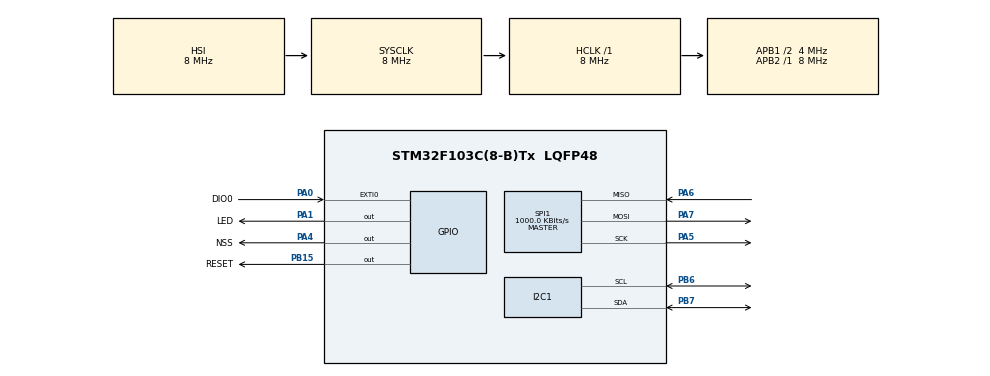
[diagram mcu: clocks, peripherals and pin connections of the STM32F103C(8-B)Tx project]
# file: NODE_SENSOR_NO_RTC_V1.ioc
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Mcu.Family=STM32F1
Mcu.Name=STM32F103C(8-B)Tx
Mcu.Package=LQFP48
NVIC.EXTI0_IRQn=true\:0\:0\:false\:false\:true\:true\:true\:true
NVIC.PriorityGroup=NVIC_PRIORITYGROUP_4
NVIC.RTC_Alarm_IRQn=true\:0\:0\:false\:false\:true\:true\:true\:true
PA0-WKUP.GPIO_Label=DIO0
PA0-WKUP.Signal=GPXTI0
PA1.GPIO_Label=LED
PA1.Signal=GPIO_Output
PA13.Mode=Serial_Wire
PA13.Signal=SYS_JTMS-SWDIO
PA14.Mode=Serial_Wire
PA14.Signal=SYS_JTCK-SWCLK
PA4.GPIO_Label=NSS
PA4.PinState=GPIO_PIN_SET
PA4.Signal=GPIO_Output
PA5.Mode=Full_Duplex_Master
PA5.Signal=SPI1_SCK
PA6.Mode=Full_Duplex_Master
PA6.Signal=SPI1_MISO
PA7.Mode=Full_Duplex_Master
PA7.Signal=SPI1_MOSI
PB15.GPIO_Label=RESET
PB15.PinState=GPIO_PIN_SET
PB15.Signal=GPIO_Output
PB6.Mode=I2C
PB6.Signal=I2C1_SCL
PB7.Mode=I2C
PB7.Signal=I2C1_SDA
PC14-OSC32_IN.Mode=LSE-External-Oscillator
PC14-OSC32_IN.Signal=RCC_OSC32_IN
PC15-OSC32_OUT.Mode=LSE-External-Oscillator
PC15-OSC32_OUT.Signal=RCC_OSC32_OUT
PD0-OSC_IN.Mode=HSE-External-Oscillator
PD0-OSC_IN.Signal=RCC_OSC_IN
PD1-OSC_OUT.Mode=HSE-External-Oscillator
PD1-OSC_OUT.Signal=RCC_OSC_OUT
ProjectManager.HeapSize=0x200
ProjectManager.StackSize=0x400
ProjectManager.TargetToolchain=MDK-ARM V5.32
RCC.AHBFreq_Value=8000000
RCC.APB1CLKDivider=RCC_HCLK_DIV2
RCC.APB1Freq_Value=4000000
RCC.APB1TimFreq_Value=8000000
RCC.APB2Freq_Value=8000000
RCC.APB2TimFreq_Value=8000000
RCC.HCLKFreq_Value=8000000
RCC.PLLMUL=RCC_PLL_MUL9
RCC.PLLSourceVirtual=RCC_PLLSOURCE_HSE
RCC.SYSCLKFreq_VALUE=8000000
RCC.USBFreq_Value=72000000
RTC.Format=RTC_FORMAT_BIN
SPI1.BaudRatePrescaler=SPI_BAUDRATEPRESCALER_8
SPI1.CalculateBaudRate=1000.0 KBits/s
SPI1.Direction=SPI_DIRECTION_2LINES
SPI1.Mode=SPI_MODE_MASTER
SPI1.VirtualType=VM_MASTER
VP_RTC_VS_RTC_Activate.Mode=RTC_Enabled
VP_RTC_VS_RTC_Calendar.Mode=RTC_Calendar
board=custom

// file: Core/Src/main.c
/* USER CODE BEGIN Header */
/**
  ******************************************************************************
  * @file           : main.c
  * @brief          : Main program body
  ******************************************************************************
  * @attention
  *
  * Copyright (c) 2026 STMicroelectronics.
  * All rights reserved.
  *
  * This software is licensed under terms that can be found in the LICENSE file
  * in the root directory of this software component.
  * If no LICENSE file comes with this software, it is provided AS-IS.
  *
  ******************************************************************************
  */
/* USER CODE END Header */
#include "main.h"
#include "i2c.h"
#include "rtc.h"
#include "spi.h"
#include "gpio.h"

/* USER CODE BEGIN Includes */
#include "LoRa.h"
#include "my_lora.h"
#include "my_sensor.h"
#include "my_power.h"
#include <stdlib.h>
/* USER CODE END Includes */

/* USER CODE BEGIN PV */
/*Khai bao data*/
data_parameters testData = {0};

/*Nguong*/
uint8_t TEMP_THRESHOLD_HIGH = 60;     // 60 C
uint8_t TEMP_THRESHOLD_LOW  = 0;      // 0  C
uint8_t HUMIDITY_AIR_HIGH   = 90;     // 90 %
uint8_t HUMIDITY_AIR_LOW    = 10;     // 10 %
uint8_t HUMIDITY_SOIL_HIGH  = 80;     // 80 %
uint8_t HUMIDITY_SOIL_LOW   = 20;     // 20 %
uint16_t Time_Interval			= 42;			// 42s

/*cac bien check*/
uint8_t isJoined = 0;
uint8_t check;
uint8_t type_of_trans_check;

/**/
extern uint32_t current_time_in_gateway;
int32_t time_remaining_ms;

#define WAKEUP_CYCLE_SEC     5
/* USER CODE END PV */

void SystemClock_Config(void);

int main(void)
{

  /* MCU Configuration--------------------------------------------------------*/

  /* Reset of all peripherals, Initializes the Flash interface and the Systick. */
  HAL_Init();

  /* Configure the system clock */
  SystemClock_Config();

  /* Initialize all configured peripherals */
  MX_GPIO_Init();
  MX_SPI1_Init();
  MX_RTC_Init();
  MX_I2C1_Init();
  /* USER CODE BEGIN 2 */
	my_lora_init_default();
	if(LoRa_init(&myLoRa) == LORA_OK){
      for(int i=0; i<6; i++) { HAL_GPIO_TogglePin(LED_GPIO_Port, LED_Pin); HAL_Delay(100); }
  } else {
      HAL_GPIO_WritePin(LED_GPIO_Port, LED_Pin, 1);
      while(1);
  }
	LoRa_gotoMode(&myLoRa, RXCONTIN_MODE);

	testData.ID = ID_NEWDEVICE;
	testData.cmd = CMD_JOIN;

	//GIAI DOAN 1: JOIN
	while(isJoined == 0)
	{
		if(TDMA_Join_network(&testData, 3000))
    {
      isJoined = 1;

      for(int i=0; i<3; i++) { HAL_GPIO_TogglePin(LED_GPIO_Port, LED_Pin); HAL_Delay(200); }
    }
    else
    {
      HAL_Delay(200 + rand()%500);
    }
	}

	time_remaining_ms = calculate_sleep_seconds(testData.ID, (uint16_t)current_time_in_gateway) * 1000;
  /* USER CODE END 2 */

  /* Infinite loop */
  /* USER CODE BEGIN WHILE */
  while (1)
  {
		/*Kiem tra thoi gian con lai cua chu ki*/
		if(time_remaining_ms > (WAKEUP_CYCLE_SEC + 5) * 1000)
		{
			check = 1;
			HAL_GPIO_WritePin(LED_GPIO_Port, LED_Pin, 1);
			my_power_enter_stop_mode(WAKEUP_CYCLE_SEC);
			HAL_GPIO_WritePin(LED_GPIO_Port, LED_Pin, 0);
		}
		else
		{
			check = 2;
			HAL_GPIO_WritePin(LED_GPIO_Port, LED_Pin, 1);
			my_power_enter_stop_mode(time_remaining_ms / 1000);
			HAL_GPIO_WritePin(LED_GPIO_Port, LED_Pin, 0);
			time_remaining_ms = 0;
		}

		uint32_t start_tick = HAL_GetTick();

		/*Do sensor*/
		check = 3;
		testData.cmd = CMD_DATA;
		read_sensors(&testData);

		/*Tinh toan thoi gian con lai*/
		time_remaining_ms = time_remaining_ms - WAKEUP_CYCLE_SEC * 1000 - (HAL_GetTick() - start_tick);

    /*Kiem tra nguong*/
    uint8_t vuot_nguong = check_thresholds(&testData);

		/*Gui data*/
		if(vuot_nguong == 1)		//Truong hop 1: vuot nguong
		{
			if(TDMA_Send_Emergency(&testData))		//neu gui thanh cong (trong API nay da co retry=5)
			{
				type_of_trans_check = 1;
				HAL_GPIO_WritePin(LED_GPIO_Port, LED_Pin, 1);
				HAL_Delay(200);
				HAL_GPIO_WritePin(LED_GPIO_Port, LED_Pin, 0);
				time_remaining_ms = calculate_sleep_seconds(testData.ID, (uint16_t)current_time_in_gateway) * 1000;		//tinh toan thoi gian ngu cho chu ki tiep
			}
		}
		else if(time_remaining_ms <= 0)			//Truong hop 2: het thoi gian
		{
			uint32_t start_send_data = HAL_GetTick();
			while(HAL_GetTick() - start_send_data <= TDMA_WINDOW * 1000)		//chi gui trong 3000ms dau cua slot
			{
				testData.cmd = CMD_DATA;
				if(my_lora_transmit_wait_data(&testData, 500 + rand()%500))		//neu gui thanh cong
				{
					type_of_trans_check = 2;
					HAL_GPIO_WritePin(LED_GPIO_Port, LED_Pin, 1);
					HAL_Delay(100);
					HAL_GPIO_WritePin(LED_GPIO_Port, LED_Pin, 0);
					HAL_Delay(100);
					time_remaining_ms = calculate_sleep_seconds(testData.ID, (uint16_t)current_time_in_gateway) * 1000;		//tinh toan thoi gian ngu cho chu ki tiep
					break;
				}
				else time_remaining_ms = calculate_sleep_seconds(testData.ID, (uint16_t)current_time_in_gateway) * 1000;		//tinh toan thoi gian ngu cho chu ki tiep
			}
		}
    /* USER CODE END WHILE */

  }
}

void SystemClock_Config(void)
{
  RCC_OscInitTypeDef RCC_OscInitStruct = {0};
  RCC_ClkInitTypeDef RCC_ClkInitStruct = {0};
  RCC_PeriphCLKInitTypeDef PeriphClkInit = {0};

  /** Initializes the RCC Oscillators according to the specified parameters
  * in the RCC_OscInitTypeDef structure.
  */
  RCC_OscInitStruct.OscillatorType = RCC_OSCILLATORTYPE_HSI|RCC_OSCILLATORTYPE_LSI;
  RCC_OscInitStruct.HSIState = RCC_HSI_ON;
  RCC_OscInitStruct.HSICalibrationValue = RCC_HSICALIBRATION_DEFAULT;
  RCC_OscInitStruct.LSIState = RCC_LSI_ON;
  RCC_OscInitStruct.PLL.PLLState = RCC_PLL_NONE;
  if (HAL_RCC_OscConfig(&RCC_OscInitStruct) != HAL_OK)
  {
    Error_Handler();
  }

  /** Initializes the CPU, AHB and APB buses clocks
  */
  RCC_ClkInitStruct.ClockType = RCC_CLOCKTYPE_HCLK|RCC_CLOCKTYPE_SYSCLK
                              |RCC_CLOCKTYPE_PCLK1|RCC_CLOCKTYPE_PCLK2;
  RCC_ClkInitStruct.SYSCLKSource = RCC_SYSCLKSOURCE_HSI;
  RCC_ClkInitStruct.AHBCLKDivider = RCC_SYSCLK_DIV1;
  RCC_ClkInitStruct.APB1CLKDivider = RCC_HCLK_DIV2;
  RCC_ClkInitStruct.APB2CLKDivider = RCC_HCLK_DIV1;

  if (HAL_RCC_ClockConfig(&RCC_ClkInitStruct, FLASH_LATENCY_0) != HAL_OK)
  {
    Error_Handler();
  }
  PeriphClkInit.PeriphClockSelection = RCC_PERIPHCLK_RTC;
  PeriphClkInit.RTCClockSelection = RCC_RTCCLKSOURCE_LSI;
  if (HAL_RCCEx_PeriphCLKConfig(&PeriphClkInit) != HAL_OK)
  {
    Error_Handler();
  }
}

/* USER CODE BEGIN 4 */
void HAL_GPIO_EXTI_Callback(uint16_t GPIO_Pin)
{
  if(GPIO_Pin == DIO0_Pin)
  {
    LoRa_Rx_Flag = 1;
  }
}

void HAL_RTC_AlarmAEventCallback(RTC_HandleTypeDef *hrtc)
{

}
/* USER CODE END 4 */

void Error_Handler(void)
{
  __disable_irq();
  while (1)
  {
  }
}
